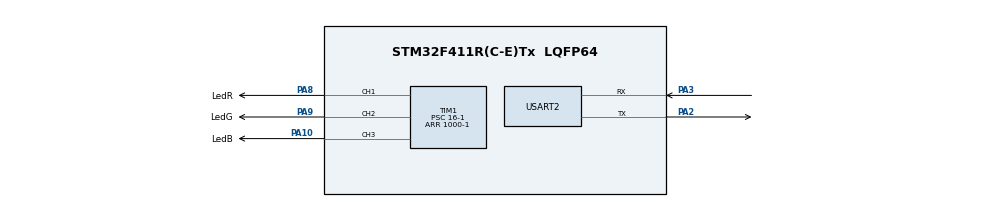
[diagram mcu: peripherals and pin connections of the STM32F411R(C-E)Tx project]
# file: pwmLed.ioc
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Mcu.Family=STM32F4
Mcu.Name=STM32F411R(C-E)Tx
Mcu.Package=LQFP64
NVIC.PriorityGroup=NVIC_PRIORITYGROUP_4
NVIC.USART2_IRQn=true\:0\:0\:false\:false\:true\:true\:true\:true
PA10.GPIO_Label=LedB
PA10.Signal=S_TIM1_CH3
PA2.Mode=Asynchronous
PA2.Signal=USART2_TX
PA3.Mode=Asynchronous
PA3.Signal=USART2_RX
PA8.GPIO_Label=LedR
PA8.Signal=S_TIM1_CH1
PA9.GPIO_Label=LedG
PA9.Signal=S_TIM1_CH2
ProjectManager.HeapSize=0x200
ProjectManager.StackSize=0x400
ProjectManager.TargetToolchain=STM32CubeIDE
RCC.AHBFreq_Value=16000000
RCC.APB1Freq_Value=16000000
RCC.APB2Freq_Value=16000000
RCC.CortexFreq_Value=16000000
RCC.HSE_VALUE=25000000
RCC.HSI_VALUE=16000000
RCC.LSE_VALUE=32768
RCC.SYSCLKFreq_VALUE=16000000
RCC.VCOOutputFreq_Value=192000000
SH.S_TIM1_CH1.0=TIM1_CH1,PWM Generation1 CH1
SH.S_TIM1_CH2.0=TIM1_CH2,PWM Generation2 CH2
SH.S_TIM1_CH3.0=TIM1_CH3,PWM Generation3 CH3
TIM1.Channel-PWM\ Generation1\ CH1=TIM_CHANNEL_1
TIM1.Channel-PWM\ Generation2\ CH2=TIM_CHANNEL_2
TIM1.Channel-PWM\ Generation3\ CH3=TIM_CHANNEL_3
TIM1.Period=1000-1
TIM1.Prescaler=16-1
TIM1.Pulse-PWM\ Generation1\ CH1=1
TIM1.Pulse-PWM\ Generation2\ CH2=1
TIM1.Pulse-PWM\ Generation3\ CH3=1
USART2.VirtualMode=VM_ASYNC
VP_TIM1_VS_ClockSourceINT.Mode=Internal
board=custom

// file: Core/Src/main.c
/* USER CODE BEGIN Header */
/**
 ******************************************************************************
 * @file           : main.c
 * @brief          : Main program body
 ******************************************************************************
 * @attention
 *
 * Copyright (c) 2024 STMicroelectronics.
 * All rights reserved.
 *
 * This software is licensed under terms that can be found in the LICENSE file
 * in the root directory of this software component.
 * If no LICENSE file comes with this software, it is provided AS-IS.
 *
 ******************************************************************************
 */
/* USER CODE END Header */
#include "main.h"

/* USER CODE BEGIN Includes */
#include "uart.h"
#include "hsv2rgb.h"
#include <stdio.h>
/* USER CODE END Includes */

TIM_HandleTypeDef htim1;

UART_HandleTypeDef huart2;

void SystemClock_Config(void);
static void MX_GPIO_Init(void);
static void MX_USART2_UART_Init(void);
static void MX_TIM1_Init(void);

int main(void) {

	/* MCU Configuration--------------------------------------------------------*/

	/* Reset of all peripherals, Initializes the Flash interface and the Systick. */
	HAL_Init();

	/* Configure the system clock */
	SystemClock_Config();

	/* Initialize all configured peripherals */
	MX_GPIO_Init();
	MX_USART2_UART_Init();
	MX_TIM1_Init();
	/* USER CODE BEGIN 2 */
	//HAL_TIM_Base_Start(&htim2);
	HAL_TIM_PWM_Start(&htim1, TIM_CHANNEL_1);
	HAL_TIM_PWM_Start(&htim1, TIM_CHANNEL_2);
	HAL_TIM_PWM_Start(&htim1, TIM_CHANNEL_3);

	struct hsv_colour hsv;
	struct rgb_colour rgb;
	hsv.h = 0;
	/* USER CODE END 2 */

	/* Infinite loop */
	/* USER CODE BEGIN WHILE */
	while(1) {
		hsv.s = 1;
		hsv.v = 1;
		hsv2rgb(&hsv, &rgb);
		htim1.Instance->CCR1 = rgb.r * 9;
		htim1.Instance->CCR2 = rgb.g * 9;
		htim1.Instance->CCR3 = rgb.b * 9;
		hsv.h += 0.01;
		if(hsv.h >= 1.0) hsv.h = 0;
		HAL_Delay(10);
		/* USER CODE END WHILE */

		}
	}

	/**
	 * @brief System Clock Configuration
	 * @retval None
	 */
	void SystemClock_Config(void) {
		RCC_OscInitTypeDef RCC_OscInitStruct = { 0 };
		RCC_ClkInitTypeDef RCC_ClkInitStruct = { 0 };

		/** Configure the main internal regulator output voltage
		 */
		__HAL_RCC_PWR_CLK_ENABLE();
		__HAL_PWR_VOLTAGESCALING_CONFIG(PWR_REGULATOR_VOLTAGE_SCALE1);

		/** Initializes the RCC Oscillators according to the specified parameters
		 * in the RCC_OscInitTypeDef structure.
		 */
		RCC_OscInitStruct.OscillatorType = RCC_OSCILLATORTYPE_HSI;
		RCC_OscInitStruct.HSIState = RCC_HSI_ON;
		RCC_OscInitStruct.HSICalibrationValue = RCC_HSICALIBRATION_DEFAULT;
		RCC_OscInitStruct.PLL.PLLState = RCC_PLL_NONE;
		if(HAL_RCC_OscConfig(&RCC_OscInitStruct) != HAL_OK) {
			Error_Handler();
		}

		/** Initializes the CPU, AHB and APB buses clocks
		 */
		RCC_ClkInitStruct.ClockType = RCC_CLOCKTYPE_HCLK | RCC_CLOCKTYPE_SYSCLK
				| RCC_CLOCKTYPE_PCLK1 | RCC_CLOCKTYPE_PCLK2;
		RCC_ClkInitStruct.SYSCLKSource = RCC_SYSCLKSOURCE_HSI;
		RCC_ClkInitStruct.AHBCLKDivider = RCC_SYSCLK_DIV1;
		RCC_ClkInitStruct.APB1CLKDivider = RCC_HCLK_DIV1;
		RCC_ClkInitStruct.APB2CLKDivider = RCC_HCLK_DIV1;

		if(HAL_RCC_ClockConfig(&RCC_ClkInitStruct, FLASH_LATENCY_0) != HAL_OK) {
			Error_Handler();
		}
	}

	/**
	 * @brief TIM1 Initialization Function
	 * @param None
	 * @retval None
	 */
	static void MX_TIM1_Init(void) {

		TIM_ClockConfigTypeDef sClockSourceConfig = { 0 };
		TIM_MasterConfigTypeDef sMasterConfig = { 0 };
		TIM_OC_InitTypeDef sConfigOC = { 0 };
		TIM_BreakDeadTimeConfigTypeDef sBreakDeadTimeConfig = { 0 };

		htim1.Instance = TIM1;
		htim1.Init.Prescaler = 16 - 1;
		htim1.Init.CounterMode = TIM_COUNTERMODE_UP;
		htim1.Init.Period = 1000 - 1;
		htim1.Init.ClockDivision = TIM_CLOCKDIVISION_DIV1;
		htim1.Init.RepetitionCounter = 0;
		htim1.Init.AutoReloadPreload = TIM_AUTORELOAD_PRELOAD_DISABLE;
		if(HAL_TIM_Base_Init(&htim1) != HAL_OK) {
			Error_Handler();
		}
		sClockSourceConfig.ClockSource = TIM_CLOCKSOURCE_INTERNAL;
		if(HAL_TIM_ConfigClockSource(&htim1, &sClockSourceConfig) != HAL_OK) {
			Error_Handler();
		}
		if(HAL_TIM_PWM_Init(&htim1) != HAL_OK) {
			Error_Handler();
		}
		sMasterConfig.MasterOutputTrigger = TIM_TRGO_RESET;
		sMasterConfig.MasterSlaveMode = TIM_MASTERSLAVEMODE_DISABLE;
		if(HAL_TIMEx_MasterConfigSynchronization(&htim1, &sMasterConfig)
				!= HAL_OK) {
			Error_Handler();
		}
		sConfigOC.OCMode = TIM_OCMODE_PWM1;
		sConfigOC.Pulse = 1;
		sConfigOC.OCPolarity = TIM_OCPOLARITY_HIGH;
		sConfigOC.OCNPolarity = TIM_OCNPOLARITY_HIGH;
		sConfigOC.OCFastMode = TIM_OCFAST_DISABLE;
		sConfigOC.OCIdleState = TIM_OCIDLESTATE_RESET;
		sConfigOC.OCNIdleState = TIM_OCNIDLESTATE_RESET;
		if(HAL_TIM_PWM_ConfigChannel(&htim1, &sConfigOC, TIM_CHANNEL_1) != HAL_OK) {
			Error_Handler();
		}
		if(HAL_TIM_PWM_ConfigChannel(&htim1, &sConfigOC, TIM_CHANNEL_2) != HAL_OK) {
			Error_Handler();
		}
		if(HAL_TIM_PWM_ConfigChannel(&htim1, &sConfigOC, TIM_CHANNEL_3) != HAL_OK) {
			Error_Handler();
		}
		sBreakDeadTimeConfig.OffStateRunMode = TIM_OSSR_DISABLE;
		sBreakDeadTimeConfig.OffStateIDLEMode = TIM_OSSI_DISABLE;
		sBreakDeadTimeConfig.LockLevel = TIM_LOCKLEVEL_OFF;
		sBreakDeadTimeConfig.DeadTime = 0;
		sBreakDeadTimeConfig.BreakState = TIM_BREAK_DISABLE;
		sBreakDeadTimeConfig.BreakPolarity = TIM_BREAKPOLARITY_HIGH;
		sBreakDeadTimeConfig.AutomaticOutput = TIM_AUTOMATICOUTPUT_DISABLE;
		if(HAL_TIMEx_ConfigBreakDeadTime(&htim1, &sBreakDeadTimeConfig) != HAL_OK) {
			Error_Handler();
		}
		HAL_TIM_MspPostInit(&htim1);

	}

	/**
	 * @brief USART2 Initialization Function
	 * @param None
	 * @retval None
	 */
	static void MX_USART2_UART_Init(void) {

		huart2.Instance = USART2;
		huart2.Init.BaudRate = 115200;
		huart2.Init.WordLength = UART_WORDLENGTH_8B;
		huart2.Init.StopBits = UART_STOPBITS_1;
		huart2.Init.Parity = UART_PARITY_NONE;
		huart2.Init.Mode = UART_MODE_TX_RX;
		huart2.Init.HwFlowCtl = UART_HWCONTROL_NONE;
		huart2.Init.OverSampling = UART_OVERSAMPLING_16;
		if(HAL_UART_Init(&huart2) != HAL_OK) {
			Error_Handler();
		}

	}

	/**
	 * @brief GPIO Initialization Function
	 * @param None
	 * @retval None
	 */
	static void MX_GPIO_Init(void) {

		/* GPIO Ports Clock Enable */
		__HAL_RCC_GPIOA_CLK_ENABLE();

	}

	/**
	 * @brief  This function is executed in case of error occurrence.
	 * @retval None
	 */
	void Error_Handler(void) {
		__disable_irq();
		while(1) {
		}
	}
